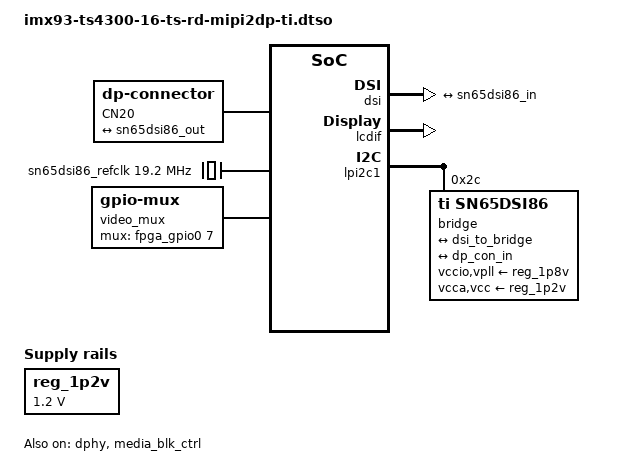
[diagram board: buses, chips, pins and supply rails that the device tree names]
// SPDX-License-Identifier: GPL-2.0 OR X11
/*
 * Copyright 2024-2025 Technologic Systems, Inc. dba embeddedTS
 */

/dts-v1/;
/plugin/;
#include <dt-bindings/gpio/gpio.h>

&{/} {
	mini-dp-con {
		compatible = "dp-connector";
		label = "CN20";
		type = "full-size";

		port {
			dp_con_in: endpoint {
				remote-endpoint = <&sn65dsi86_out>;
			};
		};
	};

	reg_1p2v: regulator-1p2v {
		compatible = "regulator-fixed";
		regulator-name = "fixed-1.2V";
		regulator-min-microvolt = <1200000>;
		regulator-max-microvolt = <1200000>;
		regulator-boot-on;
		regulator-always-on;
	};

	sn65dsi86_refclk: clk-dp {
		compatible = "fixed-clock";
		#clock-cells = <0>;
		clock-frequency = <19200000>;
	};

	video_mux: mux-controller {
		compatible = "gpio-mux";
		#mux-state-cells = <0>;
		mux-gpios = <&fpga_gpio0 7 GPIO_ACTIVE_HIGH>;
		idle-state = <0>;
	};
};

&dphy {
	status = "okay";
};

&dsi {
	status = "okay";

	ports {
		#address-cells = <1>;
		#size-cells = <0>;
		port@1 {
			reg = <1>;

			dsi_to_bridge: endpoint {
				remote-endpoint = <&sn65dsi86_in>;
			};
		};
	};
};

&lcdif {
	status = "okay";
	assigned-clock-rates = <445333333>, <148444444>, <400000000>, <133333333>;
};

&lpi2c1 {
	status = "okay";
	#address-cells = <1>;
	#size-cells = <0>;

	bridge@2c {
		compatible = "ti,sn65dsi86";
		reg = <0x2c>;

		clocks = <&sn65dsi86_refclk>;
		clock-names = "refclk";

		vccio-supply = <&reg_1p8v>;
		vpll-supply = <&reg_1p8v>;
		vcca-supply = <&reg_1p2v>;
		vcc-supply = <&reg_1p2v>;

		ports {
			#address-cells = <1>;
			#size-cells = <0>;

			port@0 {
				reg = <0>;
				sn65dsi86_in: endpoint {
					remote-endpoint = <&dsi_to_bridge>;
				};
			};

			port@1 {
				reg = <1>;
				sn65dsi86_out: endpoint {
					remote-endpoint = <&dp_con_in>;
				};
			};
		};
	};
};

&media_blk_ctrl {
	status = "okay";
};
